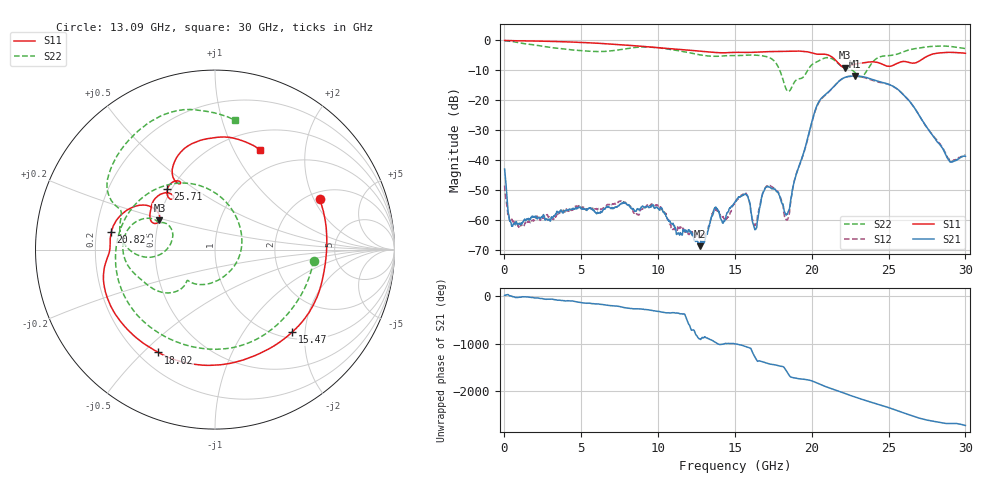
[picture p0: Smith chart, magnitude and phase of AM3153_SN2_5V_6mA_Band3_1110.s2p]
!Agilent Technologies,E8364B,MY43040894,A.07.50.67
!Agilent E8364B: A.07.50.67
!Date: Wednesday, May 13, 2020 06:24:24
!Correction: S11(Full 2 Port(1,2))
!S21(Full 2 Port(1,2))
!S12(Full 2 Port(1,2))
!S22(Full 2 Port(1,2))
!S2P File: Measurements: S11, S21, S12, S22:
# Hz S  dB  R 50
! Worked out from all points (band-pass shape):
!   1601 points, 10 MHz to 30 GHz, reference 50 ohm
!   highest |S21| = -11.91 dB at 22.82 GHz (marker M1); lowest = -68.8 dB at 12.7 GHz (marker M2)
!   |S21| within 3 dB of the highest: 21.53 GHz to 25.13 GHz (3.6 GHz wide, 15.4 % of centre)
!   lowest |S11| = -9.1 dB at 22.15 GHz (marker M3), VSWR 2.08, Z = 25.2 + j9.34 ohm
!   |S11| at or under -10 dB: nowhere
!   |S22| runs from -17.1 to -0.1 dB; largest |S21 - S12| = 0.011
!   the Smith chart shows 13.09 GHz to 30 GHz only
!   S11 on the Smith chart (normalised r, x): 13.09 GHz: 2.29, +2.22; 15.47 GHz: 1.12, -1.71; 18.02 GHz: 0.28, -0.56; 20.82 GHz: 0.26, +0.08; 25.71 GHz: 0.48, +0.39; 30 GHz: 0.73, +1.27
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1e7  -0.04 -1.9  -43.03 16.4  -48.50 108.8  -0.14 -4.2
4.785938e8  -0.13 -13.6  -62.13 0.7  -59.73 -5.5  -0.37 -30.6
2.765331e9  -0.33 -75.4  -59.83 -64.0  -58.32 -56.2  -2.19 -153.5
5.014581e9  -0.71 -130.9  -56.41 -137.0  -56.01 -138.1  -3.45 103.5
6.832725e9  -1.21 -172.8  -55.79 163.2  -54.85 166.1  -3.59 0.8
8.126044e9  -1.67 157.8  -55.16 106.0  -55.10 113.5  -2.65 -91.3
1.001916e10  -2.47 112.6  -56.25 39.8  -55.40 36.5  -2.49 148.8
1.269952e10  -3.61 37.9  -68.79 -178.0  -65.95 -85.2  -4.83 13.7
1.309314e10  -3.78 25.8  -65.85 -150.8  -65.44 -6.7  -5.15 -6.5
1.5005e10  -4.01 -32.2  -54.05 75.2  -54.04 77.6  -5.11 -101.9
1.547359e10  -4.02 -47.1  -51.95 44.1  -51.59 44.5  -5.03 -124.2
1.629832e10  -3.99 -71.3  -63.31 159.6  -61.92 36.0  -4.95 -159.4
1.704807e10  -3.80 -92.1  -49.07 31.9  -48.78 31.8  -5.43 164.8
1.802274e10  -3.68 -118.9  -53.92 -36.6  -53.47 -38.9  -11.46 75.5
1.843511e10  -3.64 -129.8  -57.73 -177.8  -59.88 -172.0  -17.04 -14.8
2.000958e10  -4.20 -172.5  -27.16 14.9  -27.47 15.1  -8.15 -143.6
2.081556e10  -4.64 170.6  -18.45 -95.0  -18.63 -93.7  -5.96 -173.3
2.214637e10  -9.13 152.3  -12.43 112.5  -12.41 113.2  -9.19 154.3
2.282114e10  -7.95 154.3  -11.91 34.9  -11.99 35.2  -10.79 152.5
2.501416e10  -8.69 129.5  -14.68 171.3  -14.76 173.8  -5.12 160.3
2.570768e10  -7.33 128.1  -16.86 92.8  -16.90 95.0  -4.36 156.1
3e10  -4.33 65.7  -38.77 156.6  -38.20 159.7  -2.74 81.3
